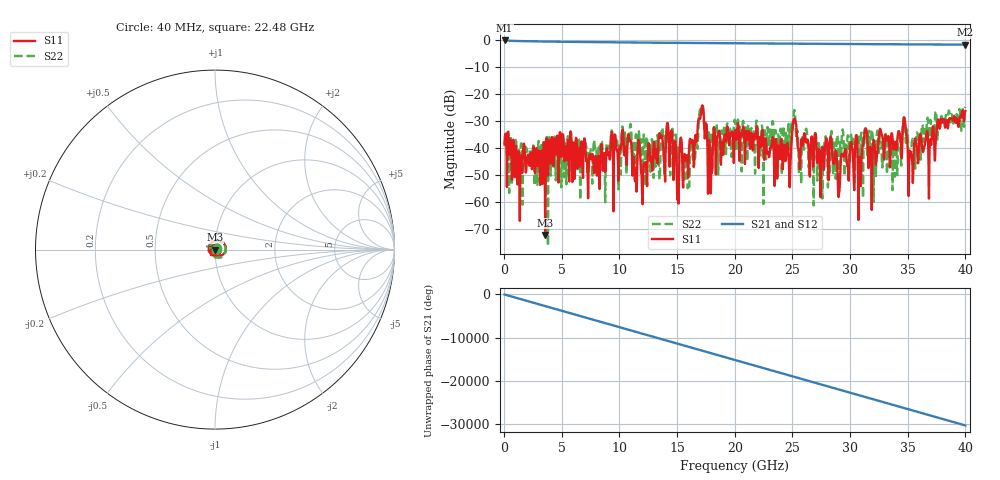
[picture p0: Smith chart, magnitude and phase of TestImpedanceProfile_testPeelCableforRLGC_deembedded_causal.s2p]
# MHz MA S R 50.0
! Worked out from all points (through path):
!   1000 points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, 40 MHz to 40 GHz, reference 50 ohm
!   highest |S21| = -0.03 dB at 40 MHz (marker M1); lowest = -1.6 dB at 40 GHz (marker M2)
!   lowest |S11| = -72.0 dB at 3.56 GHz (marker M3), VSWR 1.00, Z = 50 - j0.00348 ohm
!   |S11| at or under -10 dB: start of sweep to end of sweep
!   |S22| runs from -76.2 to -24.4 dB; largest |S21 - S12| = 0.0019
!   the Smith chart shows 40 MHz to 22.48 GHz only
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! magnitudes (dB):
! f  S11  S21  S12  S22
! 40 MHz  -38.6  0.0  0.0  -38.4
! 3.56 GHz  -72.0  -0.4  -0.4  -57.5
! 6.72 GHz  -37.5  -0.6  -0.6  -40.1
! 10.88 GHz  -37.3  -0.8  -0.8  -34.3
! 12.04 GHz  -50.2  -0.8  -0.8  -41.5
! 13.36 GHz  -39.6  -0.9  -0.9  -39.3
! 14.72 GHz  -49.2  -0.9  -0.9  -43.0
! 15.88 GHz  -43.6  -1.0  -1.0  -50.7
! 17.08 GHz  -26.6  -1.0  -1.0  -25.2
! 17.84 GHz  -39.4  -1.0  -1.0  -38.1
! 20.04 GHz  -33.3  -1.1  -1.1  -30.4
! 24.64 GHz  -40.5  -1.2  -1.2  -31.5
! 25.08 GHz  -29.8  -1.2  -1.2  -29.1
! 26.68 GHz  -35.6  -1.3  -1.3  -41.3
! 29.04 GHz  -56.5  -1.3  -1.3  -44.7
! 30.88 GHz  -46.7  -1.4  -1.4  -41.6
! 31.32 GHz  -32.8  -1.4  -1.4  -32.7
! 31.76 GHz  -39.5  -1.4  -1.4  -43.0
! 33.36 GHz  -36.4  -1.4  -1.4  -37.6
! 34.76 GHz  -29.8  -1.5  -1.5  -31.4
! 35.28 GHz  -42.0  -1.5  -1.5  -43.2
! 40 GHz  -26.2  -1.6  -1.6  -24.7
